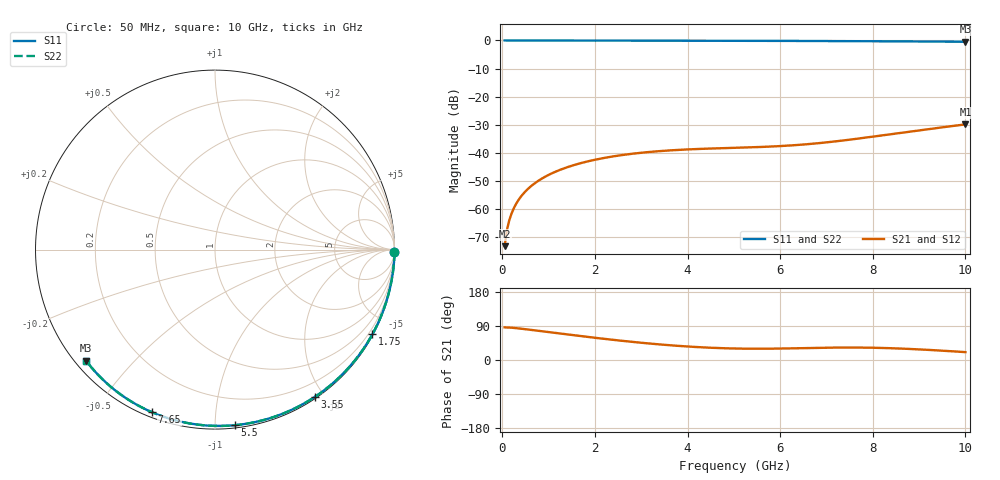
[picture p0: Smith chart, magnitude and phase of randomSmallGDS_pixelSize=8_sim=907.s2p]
! freq	dB(S11)	phase(S11)	dB(S12)	phase(S12)
!  dB(S21)	phase(S21)	dB(S22)	phase(S22)
!S-par simulation data
#  GHz  S  DB  R 50
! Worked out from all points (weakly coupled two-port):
!   200 points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, 50 MHz to 10 GHz, reference 50 ohm
!   highest |S21| = -29.83 dB at 10 GHz (marker M1); lowest = -73.1 dB at 50 MHz (marker M2)
!   lowest |S11| = -0.5 dB at 10 GHz (marker M3), VSWR 37.68, Z = 1.51 - j18.5 ohm
!   |S11| at or under -10 dB: nowhere
!   |S22| runs from -0.5 to 0.0 dB; largest |S21 - S12| = 0
!   S11 on the Smith chart (normalised r, x): 50 MHz: open; 1.75 GHz: 0.03, -3.97; 3.55 GHz: 0.02, -1.89; 5.5 GHz: 0.02, -1.12; 7.65 GHz: 0.02, -0.69; 10 GHz: 0.03, -0.37
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0.05  -0.00 -0.8  -73.09 86.1  -73.09 86.1  -0.00 -0.8
0.1  -0.00 -1.6  -67.36 85.8  -67.36 85.8  -0.00 -1.6
0.15  -0.00 -2.5  -63.94 85.6  -63.94 85.6  -0.00 -2.5
0.2  -0.00 -3.3  -61.48 85.2  -61.48 85.2  -0.00 -3.3
0.25  -0.00 -4.1  -59.57 84.7  -59.57 84.7  -0.00 -4.1
0.35  -0.00 -5.7  -56.68 83.4  -56.68 83.4  -0.00 -5.7
0.5  -0.01 -8.2  -53.62 81.3  -53.62 81.3  -0.01 -8.2
0.7  -0.01 -11.4  -50.76 78.2  -50.76 78.2  -0.01 -11.4
1  -0.02 -16.3  -47.77 73.6  -47.77 73.6  -0.02 -16.3
1.35  -0.03 -21.9  -45.34 68.2  -45.34 68.2  -0.03 -21.9
1.75  -0.04 -28.3  -43.35 62.3  -43.35 62.3  -0.04 -28.3
2.5  -0.05 -40.0  -40.92 51.7  -40.92 51.7  -0.05 -40.0
3.4  -0.07 -53.6  -39.31 41.1  -39.31 41.1  -0.07 -53.6
3.55  -0.08 -55.9  -39.14 39.6  -39.14 39.6  -0.08 -55.9
4.3  -0.09 -66.8  -38.51 33.5  -38.51 33.5  -0.09 -66.8
5.05  -0.12 -77.3  -38.13 30.2  -38.13 30.2  -0.12 -77.3
5.5  -0.13 -83.4  -37.90 29.7  -37.90 29.7  -0.13 -83.4
6.7  -0.19 -99.2  -36.70 31.8  -36.70 31.8  -0.19 -99.2
7.65  -0.25 -111.1  -34.94 32.9  -34.94 32.9  -0.25 -111.1
8.35  -0.30 -119.7  -33.40 31.3  -33.40 31.3  -0.30 -119.6
9.2  -0.38 -129.8  -31.51 26.7  -31.51 26.7  -0.38 -129.8
10  -0.46 -139.3  -29.83 20.8  -29.83 20.8  -0.46 -139.3
